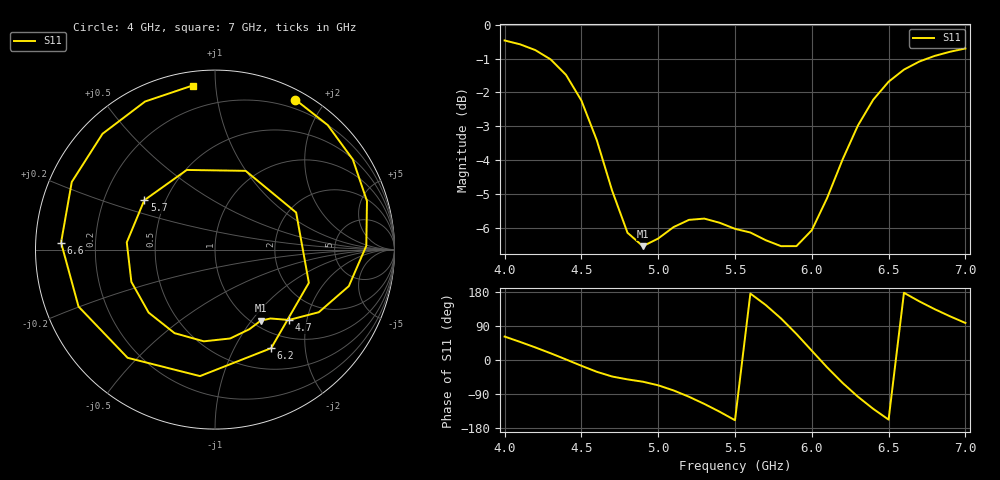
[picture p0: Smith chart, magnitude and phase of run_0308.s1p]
! Touchstone file exported from HFSS 2024.2.0
!  File:  C:/Users/wsak9/Desktop/Sim Fast/Widenad Patch/WP_AI_V1_sweep.aedt
!  Generated:  04:02:33 AM Oct 14, 2026
!  Design:  A1_model
!  Project:  WP_AI_V1_sweep
!  Setup:  Setup1
!  Solution:  Sweep
! Variables:
!  Air_gap = 2.45mm
!  Curve_Amp1 = 0.55
!  Curve_len1 = 1
!  Curve_pos = 10.6mm
!  Extra = 7.74mm
!  H_sub = 0.79mm
!  L_Patch = 17.2mm
!  L_Patch1 = 18.86mm
!  Sx = 1.83mm
!  Sy = 2.44mm
!  WS = 1.05mm
!  W_Patch = 15.38mm
!  W_Patch1 = 11.12mm
!Data is not renormalized
# GHz S MA
! Terminal data exported
! Port[1] = 1
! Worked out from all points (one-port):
!   31 points, 4 GHz to 7 GHz, reference per port
!   lowest |S11| = -6.5 dB at 4.9 GHz (marker M1), VSWR 2.78
!   |S11| at or under -10 dB: nowhere
!   S11 on the Smith chart (normalised r, x): 4 GHz: 0.10, +1.66; 4.7 GHz: 1.35, -1.57; 5.7 GHz: 0.38, +0.27; 6.2 GHz: 0.78, -1.42; 6.6 GHz: 0.08, +0.02; 7 GHz: 0.07, +0.87
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4  0.9481 61.9
4.2  0.9175 33.2
4.3  0.8888 17.7
4.4  0.8432 1.4
4.5  0.7729 -15.3
4.6  0.6754 -31.1
4.7  0.5687 -43.6
4.8  0.4928 -51.2
4.9  0.4708 -57.3
5  0.4832 -66.8
5.2  0.5149 -97.0
5.3  0.5171 -115.8
5.5  0.4994 -158.9
5.6  0.4932 175.3
5.7  0.4805 145.1
5.8  0.4708 109.5
5.9  0.4708 68.7
6  0.497 24.6
6.1  0.5547 -19.5
6.2  0.6319 -60.3
6.3  0.7097 -96.8
6.4  0.7749 -128.9
6.5  0.8239 -157.3
6.6  0.8585 177.4
6.7  0.8825 154.7
6.8  0.8995 134.2
6.9  0.9124 115.3
7  0.9227 97.8
